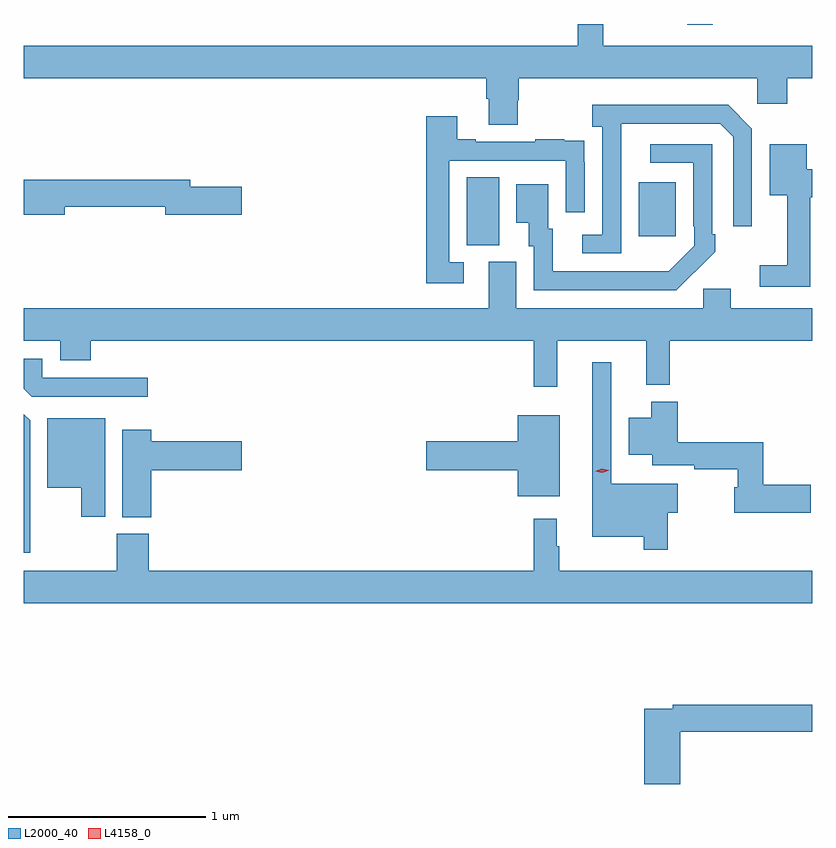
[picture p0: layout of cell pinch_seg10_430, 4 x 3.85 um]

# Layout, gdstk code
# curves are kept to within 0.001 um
import gdstk
lib = gdstk.Library(unit=1e-6, precision=1e-09)
def R(c, l, rs):  # rectangles x0, y0, x1, y1
    for r in rs: c.add(gdstk.rectangle(r[:2], r[2:], *l))
def P(c, l, *ps):  # polygons
    for p in ps: c.add(gdstk.Polygon(p, *l))
L2000_40 = (2000, 40)
L4158_0 = (4158, 0)

pinch_seg10_430 = lib.new_cell('pinch_seg10_430')
R(pinch_seg10_430, L2000_40, [(342.476,1304.797,342.64,1305.14), (343.349,1304.841,343.537,1305.115), (343.596,1305.915,343.724,1305.918)])
P(pinch_seg10_430, L2000_40, [(342.735,1305.531),(342.74,1305.531),(342.74,1305.644),(343.95,1305.644),(343.95,1305.513),(344.102,1305.513),(344.102,1305.644),(344.229,1305.644),(344.229,1305.808),(343.168,1305.808),(343.168,1305.918),(343.039,1305.918),(343.039,1305.808),(340.229,1305.808),(340.229,1305.644),(342.575,1305.644),(342.575,1305.538),(342.587,1305.538),(342.587,1305.406),(342.735,1305.406)],
  [(343.26,1305.211),(343.261,1305.411),(343.761,1305.411),(343.827,1305.345),(343.827,1304.892),(343.923,1304.892),(343.923,1305.387),(343.802,1305.508),(343.113,1305.508),(343.113,1305.398),(343.164,1305.398),(343.164,1304.85),(343.062,1304.85),(343.062,1304.754),(343.26,1304.754)],
  [(342.46,1304.709),(342.387,1304.709),(342.387,1305.225),(342.978,1305.225),(342.978,1304.964),(343.074,1304.964),(343.074,1305.218),(343.073,1305.218),(343.073,1305.327),(342.971,1305.327),(342.971,1305.334),(342.823,1305.334),(342.823,1305.321),(342.523,1305.321),(342.523,1305.334),(342.427,1305.334),(342.427,1305.451),(342.271,1305.451),(342.271,1304.604),(342.46,1304.604)],
  [(343.631,1304.659),(343.632,1304.658),(343.737,1304.763),(343.737,1304.851),(343.722,1304.851),(343.722,1305.309),(343.407,1305.309),(343.407,1305.213),(343.626,1305.213),(343.626,1304.893),(343.629,1304.893),(343.629,1304.793),(343.501,1304.665),(342.913,1304.664),(342.913,1304.88),(342.889,1304.88),(342.889,1305.106),(342.728,1305.106),(342.728,1304.909),(342.791,1304.909),(342.791,1304.79),(342.816,1304.79),(342.816,1304.568),(343.54,1304.568)],
  [(344.219,1305.038),(344.229,1305.038),(344.229,1305.18),(344.2,1305.18),(344.2,1305.307),(344.012,1305.307),(344.012,1305.05),(344.102,1305.05),(344.102,1304.695),(343.962,1304.695),(343.962,1304.586),(344.219,1304.586)],
  [(340.438,1304.992),(340.946,1304.992),(340.946,1304.95),(341.335,1304.95),(341.335,1305.092),(341.074,1305.092),(341.074,1305.128),(340.229,1305.128),(340.229,1304.95),(340.438,1304.95)],
  [(342.935,1304.312),(343.388,1304.312),(343.388,1304.087),(343.505,1304.087),(343.505,1304.312),(344.229,1304.312),(344.229,1304.476),(343.816,1304.476),(343.816,1304.574),(343.677,1304.574),(343.677,1304.476),(342.727,1304.476),(342.727,1304.712),(342.587,1304.712),(342.587,1304.476),(340.229,1304.476),(340.229,1304.312),(340.415,1304.312),(340.415,1304.213),(340.568,1304.213),(340.568,1304.312),(342.817,1304.312),(342.817,1304.079),(342.935,1304.079)],
  [(340.858,1304.124),(340.323,1304.124),(340.323,1304.22),(340.229,1304.22),(340.229,1304.069),(340.269,1304.028),(340.858,1304.028)],
  [(343.495,1303.438),(343.546,1303.438),(343.546,1303.585),(343.209,1303.585),(343.209,1304.203),(343.112,1304.203),(343.112,1303.316),(343.374,1303.316),(343.374,1303.251),(343.495,1303.251)],
  [(344.221,1303.58),(343.979,1303.58),(343.979,1303.796),(343.547,1303.796),(343.547,1304.002),(343.412,1304.002),(343.412,1303.921),(343.298,1303.921),(343.298,1303.733),(343.418,1303.733),(343.418,1303.68),(343.63,1303.68),(343.63,1303.66),(343.851,1303.66),(343.851,1303.567),(343.832,1303.567),(343.832,1303.438),(344.221,1303.438)],
  [(340.261,1303.907),(340.229,1303.939),(340.229,1303.235),(340.261,1303.235)],
  [(342.949,1303.933),(342.734,1303.933),(342.734,1303.802),(342.27,1303.802),(342.27,1303.655),(342.734,1303.655),(342.734,1303.523),(342.949,1303.523)],
  [(340.642,1303.918),(340.349,1303.918),(340.349,1303.565),(340.52,1303.565),(340.52,1303.419),(340.642,1303.419)],
  [(340.877,1303.655),(341.335,1303.655),(341.335,1303.802),(340.877,1303.802),(340.877,1303.861),(340.73,1303.861),(340.73,1303.417),(340.877,1303.417)],
  [(344.229,1303.144),(342.946,1303.144),(342.946,1303.268),(342.934,1303.268),(342.934,1303.408),(342.817,1303.408),(342.817,1303.144),(340.862,1303.144),(340.862,1303.332),(340.702,1303.332),(340.702,1303.144),(340.229,1303.144),(340.229,1302.98),(344.229,1302.98)],
  [(343.559,1302.328),(344.229,1302.328),(344.229,1302.464),(343.522,1302.464),(343.522,1302.444),(343.376,1302.444),(343.376,1302.063),(343.559,1302.063)])
P(pinch_seg10_430, L4158_0, [(343.164,1303.642),(343.127,1303.649),(343.127,1303.649),(343.127,1303.649),(343.162,1303.662),(343.198,1303.654),(343.198,1303.654),(343.198,1303.654)])

lib.write_gds('pinch_seg10_430.gds')
